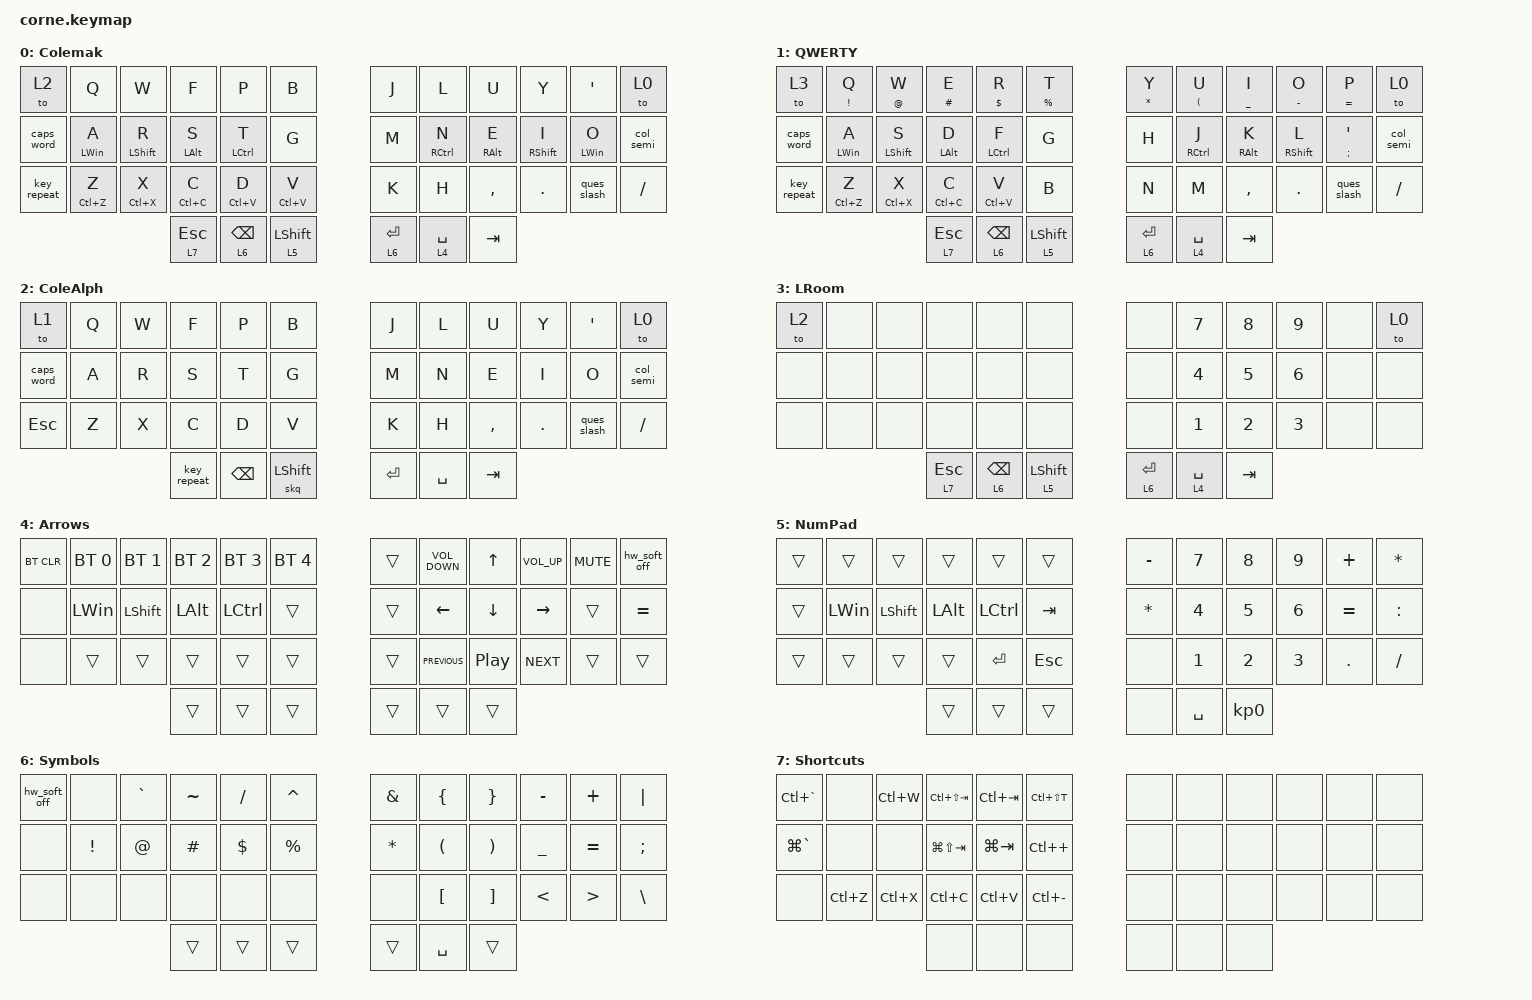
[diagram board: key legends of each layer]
/*
 * Copyright (c) 2020 The ZMK Contributors
 *
 * SPDX-License-Identifier: MIT
 */

#include <behaviors.dtsi>
#include <dt-bindings/zmk/bt.h>
#include <dt-bindings/zmk/keys.h>

/ {
    behaviors {
        hw_soft_off: hw_soft_off {
            compatible = "zmk,behavior-soft-off";
            #binding-cells = <0>;
            hold-time-ms = <500>;
        };

        hml: hml {
            compatible = "zmk,behavior-hold-tap";
            label = "HOMEROW_MODS_LEFT";
            bindings = <&kp>, <&kp>;

            #binding-cells = <2>;
            tapping-term-ms = <175>;
            hold-trigger-key-positions = <39 40 41 30 18 6 7 19 31 32 20 8 9 21 33 34 22 10 11 23 35 2 14 13 37 38 15 16>;
            flavor = "tap-preferred";
            require-prior-idle-ms = <200>;
        };

        hmr: hmr {
            compatible = "zmk,behavior-hold-tap";
            label = "HOMEROW_MODS_RIGHT";
            bindings = <&kp>, <&kp>;

            #binding-cells = <2>;
            tapping-term-ms = <175>;
            hold-trigger-key-positions = <12 0 1 2 3 4 5 12 13 14 15 16 17 24 25 26 27 28 29 36 37 38 20 19 21>;
            flavor = "tap-preferred";
            require-prior-idle-ms = <200>;
        };

        lp: lp {
            compatible = "zmk,behavior-hold-tap";
            label = "LONG_PRESS";
            bindings = <&kp>, <&kp>;

            #binding-cells = <2>;
            tapping-term-ms = <175>;
            flavor = "tap-preferred";
            require-prior-idle-ms = <200>;
        };

        skq: skq {
            compatible = "zmk,behavior-sticky-key";
            label = "sticky_key_quick_release";
            #binding-cells = <1>;
            bindings = <&kp>;

            release-after-ms = <5000>;
            quick-release;
            ignore-modifiers;
        };

        mo_ss: behavior_mo_ss {
            compatible = "zmk,behavior-hold-tap";
            label = "mo_ss";
            #binding-cells = <2>;
            bindings = <&mo>, <&skq>;

            tapping-term-ms = <175>;
            flavor = "tap-preferred";
        };

        col_semi: colon_semicolon {
            compatible = "zmk,behavior-mod-morph";
            #binding-cells = <0>;
            bindings = <&kp COLON>, <&kp SEMI>;
            mods = <(MOD_LSFT|MOD_RSFT)>;
        };

        ques_slash: ques_slash {
            compatible = "zmk,behavior-mod-morph";
            #binding-cells = <0>;
            bindings = <&kp QUESTION>, <&kp SLASH>;
            mods = <(MOD_LSFT|MOD_RSFT)>;
        };
    };

    keymap {
        compatible = "zmk,keymap";

        default_layer {
            label = "Colemak";
            bindings = <
&to 2                   &kp Q              &kp W              &kp F                 &kp P                &kp B                      &kp J           &kp L                    &kp U                  &kp Y               &kp SINGLE_QUOTE            &to 0
&caps_word              &hml LEFT_WIN A    &hml LEFT_SHIFT R  &hml LEFT_ALT S       &hml LEFT_CONTROL T  &kp G                      &kp M           &hmr RIGHT_CONTROL N     &hmr RIGHT_ALT E       &hmr RIGHT_SHIFT I  &hml LEFT_WIN O             &col_semi
&key_repeat             &lp LC(Z) Z        &lp LC(X) X        &lp LC(C) C           &lp LC(V) D          &lp LC(V) V                &kp K           &kp H                    &kp COMMA              &kp PERIOD          &ques_slash                 &kp SLASH
                                                              &lt 7 ESC             &lt 6 BACKSPACE      &mo_ss 5 LSHIFT            &lt 6 RET       &lt 4 SPACE              &kp TAB
            >;
        };
        qwerty {
            label = "QWERTY";
            bindings = <
&to 3                   &lp EXCLAMATION Q  &lp AT_SIGN W      &lp POUND E           &lp DOLLAR R         &lp PERCENT T              &lp ASTERISK Y  &lp LEFT_PARENTHESIS U   &lp UNDERSCORE I       &lp MINUS O         &lp EQUAL P                 &to 0
&caps_word              &hml LEFT_WIN A    &hml LEFT_SHIFT S  &hml LEFT_ALT D       &hml LEFT_CONTROL F  &kp G                      &kp H           &hmr RIGHT_CONTROL J     &hmr RIGHT_ALT K       &hmr RIGHT_SHIFT L  &lp SEMICOLON SINGLE_QUOTE  &col_semi
&key_repeat             &lp LC(Z) Z        &lp LC(X) X        &lp LC(C) C           &lp LC(V) V          &kp B                      &kp N           &kp M                    &kp COMMA              &kp DOT             &ques_slash                 &kp SLASH
                                                              &lt 7 ESC             &lt 6 BACKSPACE      &mo_ss 5 LSHIFT            &lt 6 RET       &lt 4 SPACE              &kp TAB
            >;
        };
        colemak_alpha {
            label = "ColeAlph";
            bindings = <
&to 1                   &kp Q              &kp W              &kp F                 &kp P                &kp B                      &kp J           &kp L                    &kp U                   &kp Y               &kp SINGLE_QUOTE           &to 0
&caps_word              &kp A              &kp R              &kp S                 &kp T                &kp G                      &kp M           &kp N                    &kp E                   &kp I               &kp O                      &col_semi
&kp ESC                 &kp Z              &kp X              &kp C                 &kp D                &kp V                      &kp K           &kp H                    &kp COMMA               &kp PERIOD          &ques_slash                &kp SLASH
                                                              &key_repeat           &kp BACKSPACE        &skq LSHIFT                &kp RET         &kp SPACE                &kp TAB
            >;
        };
        lightroom {
            label = "LRoom";
            bindings = <
&to 2                   &none               &none              &none                 &none                &none                      &none           &kp N7                    &kp N8                 &kp N9             &none                      &to 0
&none                   &none               &none              &none                 &none                &none                      &none           &kp N4                    &kp N5                 &kp N6             &none                      &none
&none                   &none               &none              &none                 &none                &none                      &none           &kp N1                    &kp N2                 &kp N3             &none                      &none
                                                               &lt 7 ESC            &lt 6 BACKSPACE      &mo_ss 5 LSHIFT            &lt 6 RET       &lt 4 SPACE               &kp TAB
            >;
        };
        arrows_layer {
            label = "Arrows";
            bindings = <
&bt BT_CLR              &bt BT_SEL 0        &bt BT_SEL 1      &bt BT_SEL 2          &bt BT_SEL 3         &bt BT_SEL 4               &trans          &kp C_VOLUME_DOWN        &kp UP_ARROW           &kp C_VOLUME_UP    &kp C_MUTE                  &hw_soft_off
&none                   &kp LEFT_WIN        &kp LEFT_SHIFT    &kp LEFT_ALT          &kp LEFT_CONTROL     &trans                     &trans          &kp LEFT_ARROW           &kp DOWN_ARROW         &kp RIGHT_ARROW    &trans                      &kp EQUAL
&none                   &trans              &trans            &trans                &trans               &trans                     &trans          &kp C_PREVIOUS           &kp C_PLAY_PAUSE       &kp C_NEXT         &trans                      &trans
                                                              &trans                &trans               &trans                     &trans          &trans                   &trans
            >;
        };
        numpad_layer {
            label = "NumPad";
            bindings = <
&trans                  &trans              &trans            &trans               &trans                &trans                    &kp MINUS       &kp N7                    &kp N8                 &kp N9             &kp PLUS                   &kp ASTERISK
&trans                  &kp LEFT_WIN        &kp LEFT_SHIFT    &kp LEFT_ALT         &kp LEFT_CONTROL      &kp TAB                   &kp ASTERISK    &kp N4                    &kp N5                 &kp N6             &kp EQUAL                  &kp COLON
&trans                  &trans              &trans            &trans               &kp RET               &kp ESC                   &none           &kp N1                    &kp N2                 &kp N3             &kp PERIOD                 &kp SLASH
                                                              &trans               &trans                &trans                    &none           &kp SPACE                 &kp KP_NUMBER_0
            >;
        };
        symbols {
            label = "Symbols";
            bindings = <
&hw_soft_off            &none               &kp GRAVE         &kp TILDE            &kp SLASH             &kp CARET                 &kp AMPERSAND   &kp LEFT_BRACE            &kp RIGHT_BRACE        &kp MINUS           &kp PLUS                  &kp PIPE
&none                   &kp EXCLAMATION     &kp AT_SIGN       &kp POUND            &kp DOLLAR            &kp PERCENT               &kp ASTERISK    &kp LEFT_PARENTHESIS      &kp RIGHT_PARENTHESIS  &kp UNDERSCORE      &kp EQUAL                 &kp SEMICOLON 
&none                   &none               &none             &none                &none                 &none                     &none           &kp LEFT_BRACKET          &kp RIGHT_BRACKET      &kp LESS_THAN       &kp GREATER_THAN          &kp BACKSLASH
                                                              &trans               &trans                &trans                    &trans          &kp SPACE                 &trans
            >;
        };
        shortcut {
            label = "Shortcuts";
            bindings = <
&kp LC(GRAVE)           &none               &kp LC(W)         &kp LC(LS(TAB))      &kp LC(TAB)          &kp LC(LS(T))              &none           &none                     &none                  &none               &none                    &none
&kp LG(GRAVE)           &none               &none             &kp LG(LS(TAB))      &kp LG(TAB)          &kp LC(PLUS)               &none           &none                     &none                  &none               &none                    &none
&none                   &kp LC(Z)           &kp LC(X)         &kp LC(C)            &kp LC(V)            &kp LC(MINUS)              &none           &none                     &none                  &none               &none                    &none
                                                              &none                &none                &none                      &none           &none                     &none
            >;
        };
    };
};
